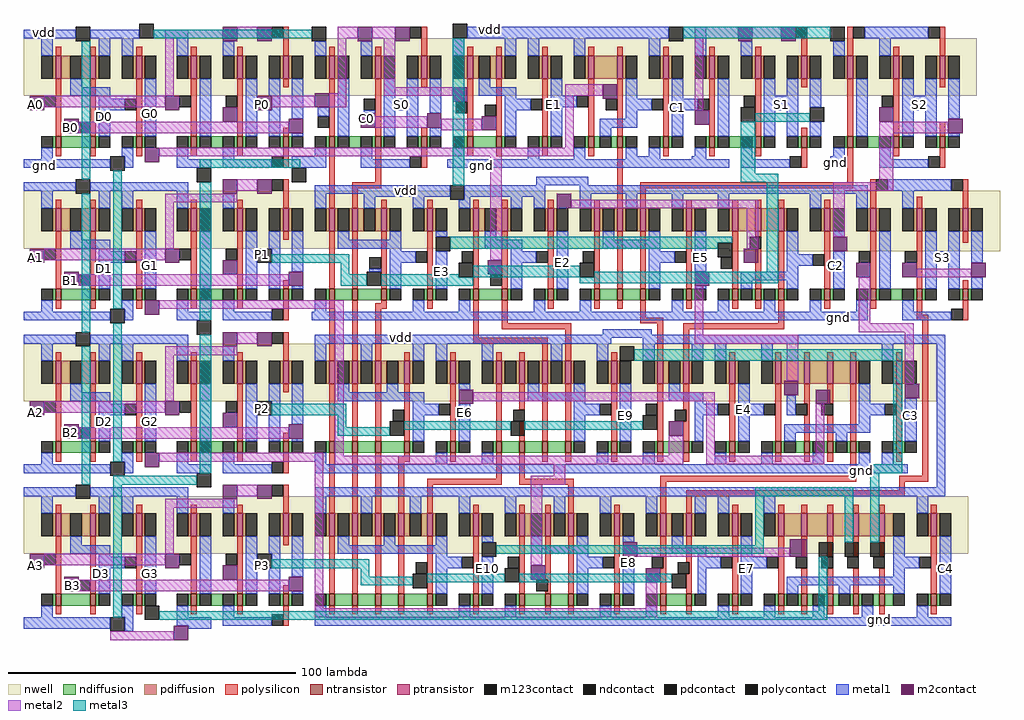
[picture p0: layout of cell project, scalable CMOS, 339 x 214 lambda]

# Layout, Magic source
magic
tech scmos
<< nwell >>
rect -20 3 311 23
rect -20 -50 319 -30
rect 225 -51 319 -50
rect -20 -103 297 -83
rect -20 -156 308 -136
<< ntransistor >>
rect -9 -15 -7 -11
rect 3 -15 5 -11
rect 19 -15 21 -11
rect 38 -15 40 -11
rect 54 -15 56 -11
rect 70 -15 72 -11
rect 86 -15 88 -11
rect 102 -15 104 -11
rect 118 -15 120 -11
rect 134 -15 136 -11
rect 144 -15 146 -11
rect 160 -15 162 -11
rect 176 -15 178 -11
rect 186 -15 188 -11
rect 202 -15 204 -11
rect 218 -15 220 -11
rect 234 -15 236 -11
rect 250 -15 252 -11
rect 266 -15 268 -11
rect 282 -15 284 -11
rect 298 -15 300 -11
rect -9 -68 -7 -64
rect 3 -68 5 -64
rect 19 -68 21 -64
rect 38 -68 40 -64
rect 54 -68 56 -64
rect 70 -68 72 -64
rect 86 -68 88 -64
rect 94 -68 96 -64
rect 104 -68 106 -64
rect 120 -68 122 -64
rect 136 -68 138 -64
rect 146 -68 148 -64
rect 162 -68 164 -64
rect 178 -68 180 -64
rect 186 -68 188 -64
rect 194 -68 196 -64
rect 210 -68 212 -64
rect 226 -68 228 -64
rect 234 -68 236 -64
rect 242 -68 244 -64
rect 258 -68 260 -64
rect 274 -68 276 -64
rect 290 -68 292 -64
rect 306 -68 308 -64
rect -9 -121 -7 -117
rect 3 -121 5 -117
rect 19 -121 21 -117
rect 38 -121 40 -117
rect 54 -121 56 -117
rect 70 -121 72 -117
rect 86 -121 88 -117
rect 94 -121 96 -117
rect 102 -121 104 -117
rect 112 -121 114 -117
rect 128 -121 130 -117
rect 144 -121 146 -117
rect 152 -121 154 -117
rect 160 -121 162 -117
rect 168 -121 170 -117
rect 184 -121 186 -117
rect 200 -121 202 -117
rect 209 -121 211 -117
rect 225 -121 227 -117
rect 241 -121 243 -117
rect 251 -121 253 -117
rect 259 -121 261 -117
rect 267 -121 269 -117
rect 283 -121 285 -117
rect -9 -174 -7 -170
rect 3 -174 5 -170
rect 19 -174 21 -170
rect 38 -174 40 -170
rect 54 -174 56 -170
rect 70 -174 72 -170
rect 86 -174 88 -170
rect 94 -174 96 -170
rect 102 -174 104 -170
rect 110 -174 112 -170
rect 120 -174 122 -170
rect 136 -174 138 -170
rect 152 -174 154 -170
rect 161 -174 163 -170
rect 169 -174 171 -170
rect 185 -174 187 -170
rect 201 -174 203 -170
rect 210 -174 212 -170
rect 226 -174 228 -170
rect 242 -174 244 -170
rect 250 -174 252 -170
rect 259 -174 261 -170
rect 268 -174 270 -170
rect 277 -174 279 -170
rect 295 -174 297 -170
<< ptransistor >>
rect -9 9 -7 17
rect 3 9 5 17
rect 19 9 21 17
rect 38 9 40 17
rect 54 9 56 17
rect 70 9 72 17
rect 86 9 88 17
rect 102 9 104 17
rect 118 9 120 17
rect 134 9 136 17
rect 144 9 146 17
rect 160 9 162 17
rect 176 9 178 17
rect 186 9 188 17
rect 202 9 204 17
rect 218 9 220 17
rect 234 9 236 17
rect 250 9 252 17
rect 266 9 268 17
rect 282 9 284 17
rect 298 9 300 17
rect -9 -44 -7 -36
rect 3 -44 5 -36
rect 19 -44 21 -36
rect 38 -44 40 -36
rect 54 -44 56 -36
rect 70 -44 72 -36
rect 86 -44 88 -36
rect 94 -44 96 -36
rect 104 -44 106 -36
rect 120 -44 122 -36
rect 136 -44 138 -36
rect 146 -44 148 -36
rect 162 -44 164 -36
rect 178 -44 180 -36
rect 186 -44 188 -36
rect 194 -44 196 -36
rect 210 -44 212 -36
rect 226 -44 228 -36
rect 234 -44 236 -36
rect 242 -44 244 -36
rect 258 -44 260 -36
rect 274 -44 276 -36
rect 290 -44 292 -36
rect 306 -44 308 -36
rect -9 -97 -7 -89
rect 3 -97 5 -89
rect 19 -97 21 -89
rect 38 -97 40 -89
rect 54 -97 56 -89
rect 70 -97 72 -89
rect 86 -97 88 -89
rect 94 -97 96 -89
rect 102 -97 104 -89
rect 112 -97 114 -89
rect 128 -97 130 -89
rect 144 -97 146 -89
rect 152 -97 154 -89
rect 160 -97 162 -89
rect 168 -97 170 -89
rect 184 -97 186 -89
rect 200 -97 202 -89
rect 209 -97 211 -89
rect 225 -97 227 -89
rect 241 -97 243 -89
rect 251 -97 253 -89
rect 259 -97 261 -89
rect 267 -97 269 -89
rect 283 -97 285 -89
rect -9 -150 -7 -142
rect 3 -150 5 -142
rect 19 -150 21 -142
rect 38 -150 40 -142
rect 54 -150 56 -142
rect 70 -150 72 -142
rect 86 -150 88 -142
rect 94 -150 96 -142
rect 102 -150 104 -142
rect 110 -150 112 -142
rect 120 -150 122 -142
rect 136 -150 138 -142
rect 152 -150 154 -142
rect 161 -150 163 -142
rect 169 -150 171 -142
rect 185 -150 187 -142
rect 201 -150 203 -142
rect 210 -150 212 -142
rect 226 -150 228 -142
rect 242 -150 244 -142
rect 250 -150 252 -142
rect 259 -150 261 -142
rect 268 -150 270 -142
rect 277 -150 279 -142
rect 295 -150 297 -142
<< ndiffusion >>
rect -10 -15 -9 -11
rect -7 -15 3 -11
rect 5 -15 6 -11
rect 18 -15 19 -11
rect 21 -15 22 -11
rect 37 -15 38 -11
rect 40 -15 41 -11
rect 45 -15 49 -11
rect 53 -15 54 -11
rect 56 -15 57 -11
rect 69 -15 70 -11
rect 72 -15 73 -11
rect 85 -15 86 -11
rect 88 -15 89 -11
rect 93 -15 97 -11
rect 101 -15 102 -11
rect 104 -15 105 -11
rect 117 -15 118 -11
rect 120 -15 121 -11
rect 133 -15 134 -11
rect 136 -15 144 -11
rect 146 -15 147 -11
rect 159 -15 160 -11
rect 162 -15 163 -11
rect 175 -15 176 -11
rect 178 -15 180 -11
rect 184 -15 186 -11
rect 188 -15 189 -11
rect 201 -15 202 -11
rect 204 -15 205 -11
rect 217 -15 218 -11
rect 220 -15 221 -11
rect 225 -15 229 -11
rect 233 -15 234 -11
rect 236 -15 237 -11
rect 249 -15 250 -11
rect 252 -15 253 -11
rect 265 -15 266 -11
rect 268 -15 269 -11
rect 273 -15 277 -11
rect 281 -15 282 -11
rect 284 -15 285 -11
rect 297 -15 298 -11
rect 300 -15 301 -11
rect -10 -68 -9 -64
rect -7 -68 3 -64
rect 5 -68 6 -64
rect 18 -68 19 -64
rect 21 -68 22 -64
rect 37 -68 38 -64
rect 40 -68 41 -64
rect 45 -68 49 -64
rect 53 -68 54 -64
rect 56 -68 57 -64
rect 69 -68 70 -64
rect 72 -68 73 -64
rect 85 -68 86 -64
rect 88 -68 94 -64
rect 96 -68 104 -64
rect 106 -68 107 -64
rect 119 -68 120 -64
rect 122 -68 123 -64
rect 135 -68 136 -64
rect 138 -68 146 -64
rect 148 -68 149 -64
rect 161 -68 162 -64
rect 164 -68 165 -64
rect 177 -68 178 -64
rect 180 -68 186 -64
rect 188 -68 194 -64
rect 196 -68 197 -64
rect 209 -68 210 -64
rect 212 -68 213 -64
rect 225 -68 226 -64
rect 228 -68 229 -64
rect 233 -68 234 -64
rect 236 -68 237 -64
rect 241 -68 242 -64
rect 244 -68 245 -64
rect 257 -68 258 -64
rect 260 -68 261 -64
rect 273 -68 274 -64
rect 276 -68 277 -64
rect 281 -68 285 -64
rect 289 -68 290 -64
rect 292 -68 293 -64
rect 305 -68 306 -64
rect 308 -68 309 -64
rect -10 -121 -9 -117
rect -7 -121 3 -117
rect 5 -121 6 -117
rect 18 -121 19 -117
rect 21 -121 22 -117
rect 37 -121 38 -117
rect 40 -121 41 -117
rect 45 -121 49 -117
rect 53 -121 54 -117
rect 56 -121 57 -117
rect 69 -121 70 -117
rect 72 -121 73 -117
rect 85 -121 86 -117
rect 88 -121 94 -117
rect 96 -121 102 -117
rect 104 -121 112 -117
rect 114 -121 115 -117
rect 127 -121 128 -117
rect 130 -121 131 -117
rect 143 -121 144 -117
rect 146 -121 152 -117
rect 154 -121 160 -117
rect 162 -121 168 -117
rect 170 -121 171 -117
rect 183 -121 184 -117
rect 186 -121 187 -117
rect 199 -121 200 -117
rect 202 -121 209 -117
rect 211 -121 212 -117
rect 224 -121 225 -117
rect 227 -121 228 -117
rect 240 -121 241 -117
rect 243 -121 244 -117
rect 248 -121 251 -117
rect 253 -121 254 -117
rect 258 -121 259 -117
rect 261 -121 262 -117
rect 266 -121 267 -117
rect 269 -121 270 -117
rect 282 -121 283 -117
rect 285 -121 286 -117
rect -10 -174 -9 -170
rect -7 -174 3 -170
rect 5 -174 6 -170
rect 18 -174 19 -170
rect 21 -174 22 -170
rect 37 -174 38 -170
rect 40 -174 41 -170
rect 45 -174 49 -170
rect 53 -174 54 -170
rect 56 -174 57 -170
rect 69 -174 70 -170
rect 72 -174 73 -170
rect 85 -174 86 -170
rect 88 -174 94 -170
rect 96 -174 102 -170
rect 104 -174 110 -170
rect 112 -174 120 -170
rect 122 -174 123 -170
rect 135 -174 136 -170
rect 138 -174 139 -170
rect 151 -174 152 -170
rect 154 -174 161 -170
rect 163 -174 169 -170
rect 171 -174 172 -170
rect 184 -174 185 -170
rect 187 -174 188 -170
rect 200 -174 201 -170
rect 203 -174 210 -170
rect 212 -174 213 -170
rect 225 -174 226 -170
rect 228 -174 229 -170
rect 241 -174 242 -170
rect 244 -174 245 -170
rect 249 -174 250 -170
rect 252 -174 254 -170
rect 258 -174 259 -170
rect 261 -174 263 -170
rect 267 -174 268 -170
rect 270 -174 271 -170
rect 275 -174 277 -170
rect 279 -174 282 -170
rect 294 -174 295 -170
rect 297 -174 298 -170
<< pdiffusion >>
rect -10 9 -9 17
rect -7 9 -4 17
rect 0 9 3 17
rect 5 9 6 17
rect 18 9 19 17
rect 21 9 22 17
rect 37 9 38 17
rect 40 9 41 17
rect 53 9 54 17
rect 56 9 57 17
rect 69 9 70 17
rect 72 9 73 17
rect 85 9 86 17
rect 88 9 89 17
rect 101 9 102 17
rect 104 9 105 17
rect 117 9 118 17
rect 120 9 121 17
rect 133 9 134 17
rect 136 9 138 17
rect 142 9 144 17
rect 146 9 147 17
rect 159 9 160 17
rect 162 9 163 17
rect 175 9 176 17
rect 178 9 186 17
rect 188 9 189 17
rect 201 9 202 17
rect 204 9 205 17
rect 217 9 218 17
rect 220 9 221 17
rect 233 9 234 17
rect 236 9 237 17
rect 249 9 250 17
rect 252 9 253 17
rect 265 9 266 17
rect 268 9 269 17
rect 281 9 282 17
rect 284 9 285 17
rect 297 9 298 17
rect 300 9 301 17
rect -10 -44 -9 -36
rect -7 -44 -4 -36
rect 0 -44 3 -36
rect 5 -44 6 -36
rect 18 -44 19 -36
rect 21 -44 22 -36
rect 37 -44 38 -36
rect 40 -44 41 -36
rect 53 -44 54 -36
rect 56 -44 57 -36
rect 69 -44 70 -36
rect 72 -44 73 -36
rect 85 -44 86 -36
rect 88 -44 89 -36
rect 93 -44 94 -36
rect 96 -44 98 -36
rect 102 -44 104 -36
rect 106 -44 107 -36
rect 119 -44 120 -36
rect 122 -44 123 -36
rect 135 -44 136 -36
rect 138 -44 140 -36
rect 144 -44 146 -36
rect 148 -44 149 -36
rect 161 -44 162 -36
rect 164 -44 165 -36
rect 177 -44 178 -36
rect 180 -44 181 -36
rect 185 -44 186 -36
rect 188 -44 189 -36
rect 193 -44 194 -36
rect 196 -44 197 -36
rect 209 -44 210 -36
rect 212 -44 213 -36
rect 225 -44 226 -36
rect 228 -44 234 -36
rect 236 -44 242 -36
rect 244 -44 245 -36
rect 257 -44 258 -36
rect 260 -44 261 -36
rect 273 -44 274 -36
rect 276 -44 277 -36
rect 289 -44 290 -36
rect 292 -44 293 -36
rect 305 -44 306 -36
rect 308 -44 309 -36
rect -10 -97 -9 -89
rect -7 -97 -4 -89
rect 0 -97 3 -89
rect 5 -97 6 -89
rect 18 -97 19 -89
rect 21 -97 22 -89
rect 37 -97 38 -89
rect 40 -97 41 -89
rect 53 -97 54 -89
rect 56 -97 57 -89
rect 69 -97 70 -89
rect 72 -97 73 -89
rect 85 -97 86 -89
rect 88 -97 89 -89
rect 93 -97 94 -89
rect 96 -97 97 -89
rect 101 -97 102 -89
rect 104 -97 106 -89
rect 110 -97 112 -89
rect 114 -97 115 -89
rect 127 -97 128 -89
rect 130 -97 131 -89
rect 143 -97 144 -89
rect 146 -97 147 -89
rect 151 -97 152 -89
rect 154 -97 155 -89
rect 159 -97 160 -89
rect 162 -97 163 -89
rect 167 -97 168 -89
rect 170 -97 171 -89
rect 183 -97 184 -89
rect 186 -97 187 -89
rect 199 -97 200 -89
rect 202 -97 204 -89
rect 208 -97 209 -89
rect 211 -97 212 -89
rect 224 -97 225 -89
rect 227 -97 228 -89
rect 240 -97 241 -89
rect 243 -97 251 -89
rect 253 -97 259 -89
rect 261 -97 267 -89
rect 269 -97 270 -89
rect 282 -97 283 -89
rect 285 -97 286 -89
rect -10 -150 -9 -142
rect -7 -150 -4 -142
rect 0 -150 3 -142
rect 5 -150 6 -142
rect 18 -150 19 -142
rect 21 -150 22 -142
rect 37 -150 38 -142
rect 40 -150 41 -142
rect 53 -150 54 -142
rect 56 -150 57 -142
rect 69 -150 70 -142
rect 72 -150 73 -142
rect 85 -150 86 -142
rect 88 -150 89 -142
rect 93 -150 94 -142
rect 96 -150 97 -142
rect 101 -150 102 -142
rect 104 -150 105 -142
rect 109 -150 110 -142
rect 112 -150 114 -142
rect 118 -150 120 -142
rect 122 -150 123 -142
rect 135 -150 136 -142
rect 138 -150 139 -142
rect 151 -150 152 -142
rect 154 -150 156 -142
rect 160 -150 161 -142
rect 163 -150 164 -142
rect 168 -150 169 -142
rect 171 -150 172 -142
rect 184 -150 185 -142
rect 187 -150 188 -142
rect 200 -150 201 -142
rect 203 -150 205 -142
rect 209 -150 210 -142
rect 212 -150 213 -142
rect 225 -150 226 -142
rect 228 -150 229 -142
rect 241 -150 242 -142
rect 244 -150 250 -142
rect 252 -150 259 -142
rect 261 -150 268 -142
rect 270 -150 277 -142
rect 279 -150 282 -142
rect 294 -150 295 -142
rect 297 -150 298 -142
<< ndcontact >>
rect -14 -15 -10 -11
rect 6 -15 10 -11
rect 14 -15 18 -11
rect 22 -15 26 -11
rect 33 -15 37 -11
rect 41 -15 45 -11
rect 49 -15 53 -11
rect 57 -15 61 -11
rect 65 -15 69 -11
rect 73 -15 77 -11
rect 81 -15 85 -11
rect 89 -15 93 -11
rect 97 -15 101 -11
rect 105 -15 109 -11
rect 113 -15 117 -11
rect 121 -15 125 -11
rect 129 -15 133 -11
rect 147 -15 151 -11
rect 155 -15 159 -11
rect 163 -15 167 -11
rect 171 -15 175 -11
rect 180 -15 184 -11
rect 189 -15 193 -11
rect 197 -15 201 -11
rect 205 -15 209 -11
rect 213 -15 217 -11
rect 221 -15 225 -11
rect 229 -15 233 -11
rect 237 -15 241 -11
rect 245 -15 249 -11
rect 253 -15 257 -11
rect 261 -15 265 -11
rect 269 -15 273 -11
rect 277 -15 281 -11
rect 285 -15 289 -11
rect 293 -15 297 -11
rect 301 -15 305 -11
rect -14 -68 -10 -64
rect 6 -68 10 -64
rect 14 -68 18 -64
rect 22 -68 26 -64
rect 33 -68 37 -64
rect 41 -68 45 -64
rect 49 -68 53 -64
rect 57 -68 61 -64
rect 65 -68 69 -64
rect 73 -68 77 -64
rect 81 -68 85 -64
rect 107 -68 111 -64
rect 115 -68 119 -64
rect 123 -68 127 -64
rect 131 -68 135 -64
rect 149 -68 153 -64
rect 157 -68 161 -64
rect 165 -68 169 -64
rect 173 -68 177 -64
rect 197 -68 201 -64
rect 205 -68 209 -64
rect 213 -68 217 -64
rect 221 -68 225 -64
rect 229 -68 233 -64
rect 237 -68 241 -64
rect 245 -68 249 -64
rect 253 -68 257 -64
rect 261 -68 265 -64
rect 269 -68 273 -64
rect 277 -68 281 -64
rect 285 -68 289 -64
rect 293 -68 297 -64
rect 301 -68 305 -64
rect 309 -68 313 -64
rect -14 -121 -10 -117
rect 6 -121 10 -117
rect 14 -121 18 -117
rect 22 -121 26 -117
rect 33 -121 37 -117
rect 41 -121 45 -117
rect 49 -121 53 -117
rect 57 -121 61 -117
rect 65 -121 69 -117
rect 73 -121 77 -117
rect 81 -121 85 -117
rect 115 -121 119 -117
rect 123 -121 127 -117
rect 131 -121 135 -117
rect 139 -121 143 -117
rect 171 -121 175 -117
rect 179 -121 183 -117
rect 187 -121 191 -117
rect 195 -121 199 -117
rect 212 -121 216 -117
rect 220 -121 224 -117
rect 228 -121 232 -117
rect 236 -121 240 -117
rect 244 -121 248 -117
rect 254 -121 258 -117
rect 262 -121 266 -117
rect 270 -121 274 -117
rect 278 -121 282 -117
rect 286 -121 290 -117
rect -14 -174 -10 -170
rect 6 -174 10 -170
rect 14 -174 18 -170
rect 22 -174 26 -170
rect 33 -174 37 -170
rect 41 -174 45 -170
rect 49 -174 53 -170
rect 57 -174 61 -170
rect 65 -174 69 -170
rect 73 -174 77 -170
rect 81 -174 85 -170
rect 123 -174 127 -170
rect 131 -174 135 -170
rect 139 -174 143 -170
rect 147 -174 151 -170
rect 172 -174 176 -170
rect 180 -174 184 -170
rect 188 -174 192 -170
rect 196 -174 200 -170
rect 213 -174 217 -170
rect 221 -174 225 -170
rect 229 -174 233 -170
rect 237 -174 241 -170
rect 245 -174 249 -170
rect 254 -174 258 -170
rect 263 -174 267 -170
rect 271 -174 275 -170
rect 282 -174 286 -170
rect 290 -174 294 -170
rect 298 -174 302 -170
<< pdcontact >>
rect -14 9 -10 17
rect -4 9 0 17
rect 6 9 10 17
rect 14 9 18 17
rect 22 9 26 17
rect 33 9 37 17
rect 41 9 45 17
rect 49 9 53 17
rect 57 9 61 17
rect 65 9 69 17
rect 73 9 77 17
rect 81 9 85 17
rect 89 9 93 17
rect 97 9 101 17
rect 105 9 109 17
rect 113 9 117 17
rect 121 9 125 17
rect 129 9 133 17
rect 138 9 142 17
rect 147 9 151 17
rect 155 9 159 17
rect 163 9 167 17
rect 171 9 175 17
rect 189 9 193 17
rect 197 9 201 17
rect 205 9 209 17
rect 213 9 217 17
rect 221 9 225 17
rect 229 9 233 17
rect 237 9 241 17
rect 245 9 249 17
rect 253 9 257 17
rect 261 9 265 17
rect 269 9 273 17
rect 277 9 281 17
rect 285 9 289 17
rect 293 9 297 17
rect 301 9 305 17
rect -14 -44 -10 -36
rect -4 -44 0 -36
rect 6 -44 10 -36
rect 14 -44 18 -36
rect 22 -44 26 -36
rect 33 -44 37 -36
rect 41 -44 45 -36
rect 49 -44 53 -36
rect 57 -44 61 -36
rect 65 -44 69 -36
rect 73 -44 77 -36
rect 81 -44 85 -36
rect 89 -44 93 -36
rect 98 -44 102 -36
rect 107 -44 111 -36
rect 115 -44 119 -36
rect 123 -44 127 -36
rect 131 -44 135 -36
rect 140 -44 144 -36
rect 149 -44 153 -36
rect 157 -44 161 -36
rect 165 -44 169 -36
rect 173 -44 177 -36
rect 181 -44 185 -36
rect 189 -44 193 -36
rect 197 -44 201 -36
rect 205 -44 209 -36
rect 213 -44 217 -36
rect 221 -44 225 -36
rect 245 -44 249 -36
rect 253 -44 257 -36
rect 261 -44 265 -36
rect 269 -44 273 -36
rect 277 -44 281 -36
rect 285 -44 289 -36
rect 293 -44 297 -36
rect 301 -44 305 -36
rect 309 -44 313 -36
rect -14 -97 -10 -89
rect -4 -97 0 -89
rect 6 -97 10 -89
rect 14 -97 18 -89
rect 22 -97 26 -89
rect 33 -97 37 -89
rect 41 -97 45 -89
rect 49 -97 53 -89
rect 57 -97 61 -89
rect 65 -97 69 -89
rect 73 -97 77 -89
rect 81 -97 85 -89
rect 89 -97 93 -89
rect 97 -97 101 -89
rect 106 -97 110 -89
rect 115 -97 119 -89
rect 123 -97 127 -89
rect 131 -97 135 -89
rect 139 -97 143 -89
rect 147 -97 151 -89
rect 155 -97 159 -89
rect 163 -97 167 -89
rect 171 -97 175 -89
rect 179 -97 183 -89
rect 187 -97 191 -89
rect 195 -97 199 -89
rect 204 -97 208 -89
rect 212 -97 216 -89
rect 220 -97 224 -89
rect 228 -97 232 -89
rect 236 -97 240 -89
rect 270 -97 274 -89
rect 278 -97 282 -89
rect 286 -97 290 -89
rect -14 -150 -10 -142
rect -4 -150 0 -142
rect 6 -150 10 -142
rect 14 -150 18 -142
rect 22 -150 26 -142
rect 33 -150 37 -142
rect 41 -150 45 -142
rect 49 -150 53 -142
rect 57 -150 61 -142
rect 65 -150 69 -142
rect 73 -150 77 -142
rect 81 -150 85 -142
rect 89 -150 93 -142
rect 97 -150 101 -142
rect 105 -150 109 -142
rect 114 -150 118 -142
rect 123 -150 127 -142
rect 131 -150 135 -142
rect 139 -150 143 -142
rect 147 -150 151 -142
rect 156 -150 160 -142
rect 164 -150 168 -142
rect 172 -150 176 -142
rect 180 -150 184 -142
rect 188 -150 192 -142
rect 196 -150 200 -142
rect 205 -150 209 -142
rect 213 -150 217 -142
rect 221 -150 225 -142
rect 229 -150 233 -142
rect 237 -150 241 -142
rect 282 -150 286 -142
rect 290 -150 294 -142
rect 298 -150 302 -142
<< polysilicon >>
rect -9 17 -7 20
rect 3 17 5 20
rect 19 17 21 20
rect 38 17 40 20
rect 54 17 56 20
rect 70 17 72 27
rect 86 17 88 20
rect 102 17 104 20
rect 118 17 120 27
rect 134 17 136 20
rect 144 17 146 20
rect 160 17 162 20
rect 176 17 178 20
rect 186 17 188 20
rect 202 17 204 20
rect 218 17 220 20
rect 234 17 236 20
rect 250 17 252 23
rect 266 17 268 27
rect 282 17 284 20
rect 298 17 300 27
rect -9 -11 -7 9
rect 3 -11 5 9
rect 19 -11 21 9
rect 38 -11 40 9
rect 54 -11 56 9
rect 70 6 72 9
rect 70 -11 72 -8
rect 86 -11 88 9
rect 102 -11 104 9
rect 118 6 120 9
rect 118 -11 120 -8
rect 134 -11 136 9
rect 144 -11 146 9
rect 160 -11 162 9
rect 176 -11 178 9
rect 186 -11 188 9
rect 202 -11 204 9
rect 218 -11 220 9
rect 234 -11 236 9
rect 250 6 252 9
rect 250 -11 252 -8
rect 266 -11 268 9
rect 282 -11 284 9
rect 298 6 300 9
rect 298 -11 300 -6
rect -9 -18 -7 -15
rect 3 -18 5 -15
rect 19 -18 21 -15
rect 38 -18 40 -15
rect 54 -18 56 -15
rect 70 -22 72 -15
rect -9 -36 -7 -33
rect 3 -36 5 -33
rect 19 -36 21 -33
rect 38 -36 40 -33
rect 54 -36 56 -33
rect 70 -36 72 -26
rect 86 -36 88 -15
rect 102 -27 104 -15
rect 118 -22 120 -15
rect 134 -18 136 -15
rect 144 -18 146 -15
rect 160 -18 162 -15
rect 176 -18 178 -15
rect 94 -29 104 -27
rect 94 -36 96 -29
rect 104 -36 106 -33
rect 120 -36 122 -33
rect 136 -36 138 -33
rect 146 -36 148 -33
rect 162 -36 164 -33
rect 178 -36 180 -33
rect 186 -36 188 -15
rect 202 -18 204 -15
rect 218 -18 220 -15
rect 234 -18 236 -15
rect 250 -22 252 -15
rect 266 -27 268 -15
rect 282 -18 284 -15
rect 298 -22 300 -15
rect 194 -29 268 -27
rect 194 -36 196 -29
rect 210 -36 212 -33
rect 226 -36 228 -33
rect 234 -36 236 -33
rect 242 -36 244 -33
rect 258 -36 260 -33
rect 274 -36 276 -26
rect 290 -36 292 -32
rect 306 -36 308 -26
rect -9 -64 -7 -44
rect 3 -64 5 -44
rect 19 -64 21 -44
rect 38 -64 40 -44
rect 54 -64 56 -44
rect 70 -47 72 -44
rect 70 -64 72 -61
rect 86 -64 88 -44
rect 94 -64 96 -44
rect 104 -64 106 -44
rect 120 -64 122 -44
rect 136 -64 138 -44
rect 146 -64 148 -44
rect 162 -64 164 -44
rect 178 -64 180 -44
rect 186 -64 188 -44
rect 194 -64 196 -44
rect 210 -64 212 -44
rect 226 -64 228 -44
rect 234 -46 236 -44
rect 234 -64 236 -50
rect 242 -64 244 -44
rect 258 -64 260 -44
rect 274 -64 276 -44
rect 290 -64 292 -44
rect 306 -48 308 -44
rect 306 -64 308 -61
rect -9 -71 -7 -68
rect 3 -71 5 -68
rect 19 -71 21 -68
rect 38 -71 40 -68
rect 54 -71 56 -68
rect 70 -75 72 -68
rect -9 -89 -7 -86
rect 3 -89 5 -86
rect 19 -89 21 -86
rect 38 -89 40 -86
rect 54 -89 56 -86
rect 70 -89 72 -79
rect 86 -89 88 -68
rect 94 -89 96 -68
rect 104 -69 106 -68
rect 102 -71 106 -69
rect 120 -71 122 -68
rect 102 -89 104 -71
rect 136 -81 138 -68
rect 146 -76 148 -68
rect 162 -71 164 -68
rect 178 -71 180 -68
rect 186 -71 188 -68
rect 194 -74 196 -68
rect 210 -71 212 -68
rect 226 -71 228 -68
rect 234 -71 236 -68
rect 194 -76 202 -74
rect 242 -76 244 -68
rect 258 -71 260 -68
rect 274 -71 276 -68
rect 290 -73 292 -68
rect 290 -75 294 -73
rect 306 -75 308 -68
rect 146 -78 170 -76
rect 136 -83 162 -81
rect 112 -89 114 -86
rect 128 -89 130 -86
rect 144 -89 146 -86
rect 152 -89 154 -86
rect 160 -89 162 -83
rect 168 -89 170 -78
rect 184 -89 186 -86
rect 200 -89 202 -76
rect 209 -78 244 -76
rect 209 -89 211 -78
rect 225 -89 227 -86
rect 241 -89 243 -86
rect 251 -89 253 -86
rect 259 -89 261 -86
rect 267 -89 269 -86
rect 283 -89 285 -86
rect -9 -117 -7 -97
rect 3 -117 5 -97
rect 19 -117 21 -97
rect 38 -117 40 -97
rect 54 -117 56 -97
rect 70 -100 72 -97
rect 70 -117 72 -114
rect 86 -117 88 -97
rect 94 -117 96 -97
rect 102 -117 104 -97
rect 112 -117 114 -97
rect 128 -117 130 -97
rect 144 -117 146 -97
rect 152 -106 154 -97
rect 152 -117 154 -110
rect 160 -117 162 -97
rect 168 -117 170 -97
rect 184 -117 186 -97
rect 200 -117 202 -97
rect 209 -106 211 -97
rect 210 -110 211 -106
rect 209 -117 211 -110
rect 225 -117 227 -97
rect 241 -117 243 -97
rect 251 -104 253 -97
rect 259 -104 261 -97
rect 252 -108 253 -104
rect 251 -117 253 -108
rect 259 -117 261 -108
rect 267 -117 269 -97
rect 283 -117 285 -97
rect -9 -124 -7 -121
rect 3 -124 5 -121
rect 19 -124 21 -121
rect 38 -124 40 -121
rect 54 -124 56 -121
rect 70 -128 72 -121
rect -9 -142 -7 -139
rect 3 -142 5 -139
rect 19 -142 21 -139
rect 38 -142 40 -139
rect 54 -142 56 -139
rect 70 -142 72 -132
rect 86 -142 88 -121
rect 94 -142 96 -121
rect 102 -142 104 -121
rect 112 -122 114 -121
rect 110 -124 114 -122
rect 128 -124 130 -121
rect 110 -142 112 -124
rect 144 -130 146 -121
rect 120 -132 146 -130
rect 152 -130 154 -121
rect 160 -124 162 -121
rect 168 -124 170 -121
rect 184 -124 186 -121
rect 200 -124 202 -121
rect 209 -124 211 -121
rect 225 -124 227 -121
rect 241 -124 243 -121
rect 251 -124 253 -121
rect 259 -124 261 -121
rect 267 -129 269 -121
rect 283 -124 285 -121
rect 292 -129 294 -75
rect 152 -132 171 -130
rect 120 -142 122 -132
rect 136 -142 138 -139
rect 152 -142 154 -139
rect 161 -142 163 -139
rect 169 -142 171 -132
rect 201 -131 269 -129
rect 284 -131 294 -129
rect 185 -142 187 -139
rect 201 -142 203 -131
rect 284 -134 286 -131
rect 210 -136 286 -134
rect 210 -142 212 -136
rect 226 -142 228 -139
rect 242 -142 244 -139
rect 250 -142 252 -139
rect 259 -142 261 -139
rect 268 -142 270 -139
rect 277 -142 279 -139
rect 295 -142 297 -139
rect -9 -170 -7 -150
rect 3 -170 5 -150
rect 19 -170 21 -150
rect 38 -170 40 -150
rect 54 -170 56 -150
rect 70 -153 72 -150
rect 70 -170 72 -167
rect 86 -170 88 -150
rect 94 -170 96 -150
rect 102 -170 104 -150
rect 110 -170 112 -150
rect 120 -170 122 -150
rect 136 -170 138 -150
rect 152 -170 154 -150
rect 161 -165 163 -150
rect 162 -169 163 -165
rect 161 -170 163 -169
rect 169 -170 171 -150
rect 185 -170 187 -150
rect 201 -157 203 -150
rect 202 -161 203 -157
rect 210 -159 212 -150
rect 201 -170 203 -161
rect 211 -163 212 -159
rect 210 -170 212 -163
rect 226 -170 228 -150
rect 242 -170 244 -150
rect 250 -157 252 -150
rect 259 -157 261 -150
rect 268 -157 270 -150
rect 277 -157 279 -150
rect 250 -170 252 -161
rect 259 -170 261 -161
rect 268 -170 270 -161
rect 277 -170 279 -161
rect 295 -170 297 -150
rect -9 -177 -7 -174
rect 3 -177 5 -174
rect 19 -177 21 -174
rect 38 -177 40 -174
rect 54 -177 56 -174
rect 70 -181 72 -174
rect 86 -177 88 -174
rect 94 -177 96 -174
rect 102 -177 104 -174
rect 110 -177 112 -174
rect 120 -177 122 -174
rect 136 -177 138 -174
rect 152 -177 154 -174
rect 161 -177 163 -174
rect 169 -177 171 -174
rect 185 -177 187 -174
rect 201 -177 203 -174
rect 210 -177 212 -174
rect 226 -177 228 -174
rect 242 -177 244 -174
rect 250 -177 252 -174
rect 259 -177 261 -174
rect 268 -177 270 -174
rect 277 -177 279 -174
rect 295 -177 297 -174
<< polycontact >>
rect 66 23 70 27
rect 114 23 118 27
rect 248 23 252 27
rect 268 23 272 27
rect 294 23 298 27
rect -13 -1 -9 3
rect -1 -10 3 -6
rect 15 -2 19 2
rect 34 -1 38 3
rect 50 -1 54 3
rect 82 -8 86 -4
rect 98 -2 102 2
rect 130 -3 134 1
rect 140 -4 144 0
rect 156 -2 160 2
rect 172 -1 176 3
rect 182 -2 186 2
rect 198 -2 202 2
rect 214 -2 218 2
rect 230 -1 234 3
rect 278 -1 282 3
rect 66 -22 70 -18
rect 66 -30 70 -26
rect 114 -22 118 -18
rect 246 -22 250 -18
rect 294 -22 298 -18
rect 276 -30 280 -26
rect 302 -30 306 -26
rect -13 -54 -9 -50
rect -1 -63 3 -59
rect 15 -55 19 -51
rect 34 -54 38 -50
rect 50 -54 54 -50
rect 100 -57 104 -53
rect 116 -55 120 -51
rect 132 -55 136 -51
rect 142 -63 146 -59
rect 158 -55 162 -51
rect 174 -55 178 -51
rect 206 -55 210 -51
rect 222 -57 226 -53
rect 232 -50 236 -46
rect 254 -56 258 -52
rect 270 -55 274 -51
rect 286 -55 290 -51
rect 66 -75 70 -71
rect 66 -83 70 -79
rect 302 -75 306 -71
rect -13 -107 -9 -103
rect -1 -116 3 -112
rect 15 -108 19 -104
rect 34 -107 38 -103
rect 50 -107 54 -103
rect 108 -110 112 -106
rect 124 -108 128 -104
rect 150 -110 154 -106
rect 180 -108 184 -104
rect 196 -108 200 -104
rect 206 -110 210 -106
rect 221 -108 225 -104
rect 237 -108 241 -104
rect 248 -108 252 -104
rect 257 -108 261 -104
rect 279 -108 283 -104
rect 66 -128 70 -124
rect 66 -136 70 -132
rect -13 -160 -9 -156
rect -1 -169 3 -165
rect 15 -161 19 -157
rect 34 -160 38 -156
rect 50 -160 54 -156
rect 116 -163 120 -159
rect 132 -161 136 -157
rect 148 -161 152 -157
rect 158 -169 162 -165
rect 181 -161 185 -157
rect 198 -161 202 -157
rect 207 -163 211 -159
rect 222 -161 226 -157
rect 238 -161 242 -157
rect 248 -161 252 -157
rect 257 -161 261 -157
rect 266 -161 270 -157
rect 275 -161 279 -157
rect 291 -161 295 -157
rect 66 -181 70 -177
<< metal1 >>
rect -20 23 -2 26
rect -14 17 -10 23
rect 3 23 20 26
rect 25 23 37 26
rect 6 17 10 23
rect 14 17 18 23
rect 33 17 37 23
rect 134 23 204 27
rect 49 17 53 22
rect 81 17 85 22
rect 97 17 101 22
rect 129 17 133 23
rect 147 17 151 23
rect -4 6 0 9
rect -4 3 10 6
rect 6 2 10 3
rect 6 -2 15 2
rect 6 -11 10 -2
rect 22 -11 26 9
rect 41 -11 45 9
rect 57 -11 61 9
rect 65 3 69 9
rect 66 -2 69 3
rect -14 -19 -10 -15
rect 14 -18 18 -15
rect -20 -22 10 -19
rect 15 -22 18 -18
rect 65 -11 69 -2
rect 73 -5 77 9
rect 82 -4 86 -1
rect 73 -11 77 -10
rect 89 -11 93 9
rect 105 2 109 9
rect 113 2 117 9
rect 98 -3 102 -2
rect 105 -2 117 2
rect 105 -11 109 -2
rect 113 -11 117 -2
rect 155 17 159 23
rect 171 17 175 23
rect 197 17 201 23
rect 209 23 217 27
rect 213 17 217 23
rect 272 23 294 27
rect 229 17 233 22
rect 261 17 265 22
rect 277 17 281 23
rect 121 -3 125 9
rect 138 6 142 9
rect 138 3 151 6
rect 147 2 151 3
rect 163 3 167 9
rect 121 -11 125 -8
rect 147 -2 156 2
rect 163 -1 172 3
rect 147 -11 151 -2
rect 163 -11 167 -1
rect 189 2 193 9
rect 205 2 209 9
rect 189 -2 198 2
rect 205 -2 214 2
rect 189 -5 193 -2
rect 180 -8 193 -5
rect 180 -11 184 -8
rect 205 -11 209 -2
rect 221 -11 225 9
rect 237 3 241 9
rect 245 3 249 9
rect 237 -2 249 3
rect 237 -11 241 -2
rect 33 -19 37 -15
rect 49 -19 53 -15
rect 81 -18 85 -15
rect 33 -22 45 -19
rect 49 -22 66 -19
rect 73 -22 85 -18
rect 97 -19 101 -15
rect 97 -22 114 -19
rect 129 -19 133 -15
rect 155 -19 159 -15
rect 171 -19 175 -15
rect 189 -18 193 -15
rect 245 -11 249 -2
rect 253 -1 257 9
rect 253 -11 257 -6
rect 269 -11 273 9
rect 285 3 289 9
rect 293 3 297 9
rect 285 -2 297 3
rect 285 -11 289 -2
rect 293 -11 297 -2
rect 301 -5 305 9
rect 301 -11 305 -10
rect 197 -18 201 -15
rect 213 -18 217 -15
rect 189 -19 201 -18
rect 212 -19 217 -18
rect 229 -19 233 -15
rect 261 -18 265 -15
rect 127 -22 225 -19
rect 229 -22 246 -19
rect 260 -22 265 -18
rect 277 -19 281 -15
rect 277 -22 294 -19
rect -20 -30 -2 -27
rect -14 -36 -10 -30
rect 3 -30 37 -27
rect 6 -36 10 -30
rect 14 -36 18 -30
rect 33 -36 37 -30
rect 158 -28 176 -25
rect 81 -31 128 -28
rect 49 -36 53 -31
rect 81 -36 85 -31
rect 98 -32 128 -31
rect 98 -36 102 -32
rect 115 -36 119 -32
rect 133 -32 161 -28
rect 173 -31 273 -28
rect 280 -30 302 -26
rect 133 -33 135 -32
rect 131 -36 135 -33
rect 149 -36 153 -32
rect -4 -47 0 -44
rect -4 -50 10 -47
rect 6 -51 10 -50
rect 6 -55 15 -51
rect 6 -64 10 -55
rect 22 -64 26 -44
rect 41 -64 45 -44
rect 57 -64 61 -44
rect 65 -50 69 -44
rect 66 -55 69 -50
rect -14 -72 -10 -68
rect 14 -71 18 -68
rect -20 -75 10 -72
rect 15 -75 18 -71
rect 65 -64 69 -55
rect 157 -36 161 -32
rect 173 -36 177 -31
rect 189 -36 193 -31
rect 205 -36 209 -31
rect 221 -36 225 -31
rect 253 -36 257 -31
rect 269 -36 273 -31
rect 285 -36 289 -30
rect 73 -58 77 -44
rect 89 -47 93 -44
rect 107 -47 111 -44
rect 89 -50 111 -47
rect 107 -51 111 -50
rect 123 -46 127 -44
rect 140 -47 144 -44
rect 140 -50 153 -47
rect 149 -51 153 -50
rect 100 -58 104 -57
rect 107 -55 116 -51
rect 73 -64 77 -63
rect 107 -64 111 -55
rect 123 -64 127 -51
rect 149 -55 158 -51
rect 149 -64 153 -55
rect 165 -64 169 -44
rect 181 -47 185 -44
rect 197 -47 201 -44
rect 181 -50 201 -47
rect 197 -51 201 -50
rect 197 -55 206 -51
rect 197 -64 201 -55
rect 213 -58 217 -44
rect 245 -52 249 -44
rect 261 -46 265 -44
rect 245 -56 254 -52
rect 245 -58 249 -56
rect 229 -61 249 -58
rect 213 -64 217 -63
rect 229 -64 233 -61
rect 245 -64 249 -61
rect 261 -64 265 -51
rect 277 -64 281 -44
rect 293 -51 297 -44
rect 301 -51 305 -44
rect 293 -55 305 -51
rect 293 -64 297 -55
rect 301 -64 305 -55
rect 309 -55 313 -44
rect 309 -64 313 -60
rect 33 -72 37 -68
rect 49 -72 53 -68
rect 33 -75 45 -72
rect 49 -75 66 -72
rect 81 -72 85 -68
rect 115 -72 119 -68
rect 131 -72 135 -68
rect 157 -72 161 -68
rect 173 -72 177 -68
rect 205 -72 209 -68
rect 221 -72 225 -68
rect 237 -72 241 -68
rect 253 -72 257 -68
rect 269 -72 273 -68
rect 80 -75 273 -72
rect 285 -72 289 -68
rect 285 -75 302 -72
rect -20 -83 -2 -80
rect -14 -89 -10 -83
rect 3 -83 37 -80
rect 6 -89 10 -83
rect 14 -89 18 -83
rect 33 -89 37 -83
rect 181 -80 198 -78
rect 81 -81 300 -80
rect 81 -83 184 -81
rect 195 -83 300 -81
rect 49 -89 53 -84
rect 81 -89 85 -83
rect 97 -89 101 -83
rect 115 -89 119 -83
rect -4 -100 0 -97
rect -4 -103 10 -100
rect 6 -104 10 -103
rect 6 -108 15 -104
rect 6 -117 10 -108
rect 22 -117 26 -97
rect 41 -117 45 -97
rect 57 -117 61 -97
rect 65 -103 69 -97
rect 66 -108 69 -103
rect -14 -125 -10 -121
rect 14 -124 18 -121
rect -20 -128 10 -125
rect 15 -128 18 -124
rect 65 -117 69 -108
rect 123 -89 127 -83
rect 139 -89 143 -83
rect 163 -89 167 -83
rect 179 -89 183 -83
rect 195 -89 199 -83
rect 212 -89 216 -83
rect 220 -89 224 -83
rect 236 -89 240 -83
rect 278 -89 282 -83
rect 73 -111 77 -97
rect 89 -100 93 -97
rect 106 -100 110 -97
rect 131 -99 135 -97
rect 89 -103 119 -100
rect 115 -104 119 -103
rect 155 -100 159 -97
rect 171 -100 175 -97
rect 155 -103 175 -100
rect 171 -104 175 -103
rect 115 -108 124 -104
rect 73 -117 77 -116
rect 115 -117 119 -108
rect 131 -117 135 -104
rect 171 -108 180 -104
rect 171 -117 175 -108
rect 187 -117 191 -97
rect 204 -100 208 -97
rect 204 -103 216 -100
rect 213 -104 216 -103
rect 228 -104 232 -97
rect 213 -108 221 -104
rect 228 -108 237 -104
rect 245 -108 248 -101
rect 270 -104 274 -97
rect 270 -108 279 -104
rect 213 -117 216 -108
rect 228 -117 232 -108
rect 270 -111 274 -108
rect 244 -114 274 -111
rect 244 -117 248 -114
rect 262 -117 266 -114
rect 286 -117 290 -102
rect 33 -125 37 -121
rect 49 -125 53 -121
rect 33 -128 45 -125
rect 49 -128 66 -125
rect 81 -125 85 -121
rect 123 -125 127 -121
rect 139 -125 143 -121
rect 179 -125 183 -121
rect 195 -125 199 -121
rect 220 -125 224 -121
rect 236 -125 240 -121
rect 254 -125 258 -121
rect 270 -125 274 -121
rect 278 -125 282 -121
rect 81 -128 287 -125
rect -20 -136 -2 -133
rect -14 -142 -10 -136
rect 3 -136 37 -133
rect 6 -142 10 -136
rect 14 -142 18 -136
rect 33 -142 37 -136
rect 297 -133 300 -83
rect 81 -136 300 -133
rect 49 -142 53 -137
rect 81 -142 85 -136
rect 97 -142 101 -136
rect 114 -142 118 -136
rect 131 -142 135 -136
rect 147 -142 151 -136
rect 164 -142 168 -136
rect 180 -142 184 -136
rect 196 -142 200 -136
rect 213 -142 217 -136
rect -4 -153 0 -150
rect -4 -156 10 -153
rect 6 -157 10 -156
rect 6 -161 15 -157
rect 6 -170 10 -161
rect 22 -170 26 -150
rect 41 -170 45 -150
rect 57 -170 61 -150
rect 65 -156 69 -150
rect 66 -161 69 -156
rect -14 -178 -10 -174
rect 14 -178 18 -174
rect -20 -182 10 -178
rect 15 -183 18 -178
rect 65 -170 69 -161
rect 221 -142 225 -136
rect 237 -142 241 -136
rect 290 -142 294 -136
rect 73 -164 77 -150
rect 89 -153 93 -150
rect 105 -153 109 -150
rect 123 -153 127 -150
rect 89 -156 127 -153
rect 123 -157 127 -156
rect 139 -152 143 -150
rect 156 -153 160 -150
rect 172 -153 176 -150
rect 156 -156 176 -153
rect 172 -157 176 -156
rect 188 -152 192 -150
rect 205 -153 209 -150
rect 205 -156 217 -153
rect 214 -157 217 -156
rect 229 -157 233 -150
rect 123 -161 132 -157
rect 73 -170 77 -169
rect 123 -170 127 -161
rect 139 -170 143 -157
rect 172 -161 181 -157
rect 172 -170 176 -161
rect 188 -170 192 -157
rect 214 -161 222 -157
rect 229 -161 238 -157
rect 282 -157 286 -150
rect 282 -161 291 -157
rect 214 -170 217 -161
rect 229 -170 233 -161
rect 282 -164 286 -161
rect 245 -167 286 -164
rect 245 -170 249 -167
rect 263 -170 267 -167
rect 282 -170 286 -167
rect 298 -170 302 -150
rect 33 -178 37 -174
rect 49 -178 53 -174
rect 33 -181 45 -178
rect 49 -181 66 -178
rect 81 -178 85 -174
rect 131 -178 135 -174
rect 147 -178 151 -174
rect 180 -178 184 -174
rect 196 -178 200 -174
rect 221 -178 225 -174
rect 237 -178 241 -174
rect 254 -178 258 -174
rect 271 -178 275 -174
rect 290 -178 294 -174
rect 81 -181 302 -178
rect 37 -182 45 -181
<< m2contact >>
rect 49 22 54 27
rect 61 22 66 27
rect 96 22 101 27
rect 109 22 114 27
rect -18 -2 -13 3
rect -6 -10 -1 -5
rect 29 -2 34 3
rect 49 -6 54 -1
rect 61 -2 66 3
rect 81 -1 86 4
rect 72 -10 77 -5
rect 97 -8 102 -3
rect 228 22 233 27
rect 243 22 248 27
rect 129 1 134 6
rect 120 -8 125 -3
rect 139 -9 144 -4
rect 181 2 186 7
rect 213 -7 218 -2
rect 22 -20 27 -15
rect 277 -6 282 -1
rect 301 -10 306 -5
rect 49 -31 54 -26
rect 61 -31 66 -26
rect -18 -55 -13 -50
rect -6 -63 -1 -58
rect 29 -55 34 -50
rect 49 -59 54 -54
rect 165 -36 170 -31
rect 72 -63 77 -58
rect 141 -59 146 -54
rect 230 -55 235 -50
rect 261 -51 266 -46
rect 213 -63 218 -58
rect 269 -60 274 -55
rect 285 -60 290 -55
rect 309 -60 314 -55
rect 22 -73 27 -68
rect 49 -84 54 -79
rect 61 -84 66 -79
rect -18 -108 -13 -103
rect -6 -116 -1 -111
rect 29 -108 34 -103
rect 49 -112 54 -107
rect 131 -104 136 -99
rect 72 -116 77 -111
rect 244 -101 249 -96
rect 255 -104 260 -99
rect 286 -102 291 -97
rect 204 -115 209 -110
rect 22 -126 27 -121
rect 49 -137 54 -132
rect 61 -137 66 -132
rect -18 -161 -13 -156
rect -6 -169 -1 -164
rect 29 -161 34 -156
rect 49 -165 54 -160
rect 188 -157 193 -152
rect 246 -157 252 -151
rect 72 -169 77 -164
rect 156 -165 161 -160
rect 196 -166 201 -161
rect 32 -186 37 -181
<< metal2 >>
rect 29 23 49 26
rect 29 3 32 23
rect 54 23 61 27
rect 89 23 96 27
rect 89 4 92 23
rect 101 23 109 27
rect -13 -1 29 3
rect 66 -1 81 3
rect 86 -1 92 4
rect 105 6 109 23
rect 213 23 228 27
rect 105 3 129 6
rect 168 3 181 7
rect -1 -10 72 -6
rect 102 -8 120 -4
rect 125 -9 139 -5
rect 168 -15 171 3
rect 213 -2 216 23
rect 233 23 243 27
rect 27 -18 171 -15
rect 277 -10 301 -6
rect 54 -30 61 -26
rect 29 -34 54 -31
rect 29 -50 32 -34
rect -13 -54 29 -50
rect 142 -54 146 -18
rect 277 -27 282 -10
rect 261 -30 282 -27
rect 170 -36 235 -33
rect 231 -50 235 -36
rect -1 -63 72 -59
rect 261 -46 265 -30
rect 290 -60 309 -57
rect 27 -71 91 -68
rect 54 -83 61 -79
rect 29 -87 54 -84
rect 29 -103 32 -87
rect -13 -107 29 -103
rect -1 -116 72 -112
rect 27 -124 84 -121
rect 54 -136 61 -132
rect 29 -140 54 -137
rect 29 -156 32 -140
rect -13 -160 29 -156
rect -1 -169 72 -165
rect 81 -175 84 -124
rect 88 -122 91 -71
rect 213 -80 216 -63
rect 270 -76 274 -60
rect 270 -79 289 -76
rect 213 -83 249 -80
rect 245 -96 249 -83
rect 136 -103 220 -100
rect 286 -97 289 -79
rect 204 -122 209 -115
rect 88 -125 209 -122
rect 217 -122 220 -103
rect 255 -122 258 -104
rect 217 -125 258 -122
rect 164 -129 168 -125
rect 156 -132 168 -129
rect 156 -160 160 -132
rect 193 -157 246 -154
rect 196 -175 200 -166
rect 81 -178 200 -175
rect 10 -186 32 -183
<< m123contact >>
rect -2 22 3 27
rect 20 23 25 28
rect 80 22 85 27
rect 129 23 134 28
rect 204 22 209 27
rect 260 22 265 27
rect 229 -6 234 -1
rect 253 -6 258 -1
rect 10 -23 15 -18
rect -2 -31 3 -26
rect 40 -27 45 -22
rect 73 -27 78 -22
rect 128 -33 133 -28
rect 61 -55 66 -50
rect 123 -51 128 -46
rect 221 -53 226 -48
rect 99 -63 104 -58
rect 131 -60 136 -55
rect 173 -60 178 -55
rect 10 -76 15 -71
rect -2 -84 3 -79
rect 40 -80 45 -75
rect 61 -108 66 -103
rect 10 -129 15 -124
rect -2 -137 3 -132
rect 40 -133 45 -128
rect 61 -161 66 -156
rect 10 -183 15 -178
rect 22 -179 27 -174
rect 187 -89 192 -84
rect 107 -115 112 -110
rect 149 -115 154 -110
rect 195 -113 200 -108
rect 139 -157 144 -152
rect 256 -157 261 -152
rect 265 -157 270 -152
rect 274 -157 279 -152
rect 115 -168 120 -163
rect 147 -166 152 -161
rect 205 -168 210 -163
<< metal3 >>
rect 25 23 80 26
rect 0 -26 3 22
rect 41 -22 76 -19
rect 0 -79 3 -31
rect 11 -71 14 -23
rect 41 -75 45 -27
rect 129 -28 133 23
rect 209 23 260 27
rect 234 -6 253 -3
rect 229 -24 234 -6
rect 229 -27 242 -24
rect 128 -48 226 -46
rect 128 -50 221 -48
rect 66 -55 93 -52
rect 90 -59 93 -55
rect 90 -63 99 -59
rect 104 -60 131 -59
rect 136 -60 173 -56
rect 238 -58 242 -27
rect 178 -60 242 -58
rect 104 -63 136 -60
rect 173 -62 242 -60
rect 0 -132 3 -84
rect 11 -124 14 -76
rect 41 -128 45 -80
rect 192 -89 285 -85
rect 66 -108 92 -104
rect 89 -112 92 -108
rect 89 -115 107 -112
rect 112 -113 149 -110
rect 154 -113 195 -110
rect 282 -125 285 -89
rect 11 -132 40 -129
rect 11 -178 14 -132
rect 274 -128 285 -125
rect 234 -136 268 -133
rect 234 -153 237 -136
rect 265 -152 268 -136
rect 274 -152 277 -128
rect 144 -156 237 -153
rect 66 -161 100 -158
rect 97 -164 100 -161
rect 97 -167 115 -164
rect 120 -166 147 -163
rect 152 -166 205 -163
rect 256 -176 259 -157
rect 27 -179 259 -176
<< labels >>
rlabel m2contact -16 0 -16 0 3 A0
rlabel m2contact -4 -8 -4 -8 1 B0
rlabel metal1 8 -4 8 -4 1 D0
rlabel metal1 24 -3 24 -3 1 G0
rlabel m2contact 63 0 63 0 1 P0
rlabel m2contact -16 -53 -16 -53 3 A1
rlabel m2contact -4 -61 -4 -61 1 B1
rlabel metal1 8 -57 8 -57 1 D1
rlabel metal1 24 -56 24 -56 1 G1
rlabel metal1 -13 25 -13 25 5 vdd
rlabel metal1 -13 -21 -13 -21 1 gnd
rlabel m123contact 63 -160 63 -160 1 P3
rlabel metal1 24 -110 24 -110 1 G2
rlabel metal1 24 -163 24 -163 1 G3
rlabel metal1 8 -110 8 -110 1 D2
rlabel metal1 7 -163 7 -163 1 D3
rlabel m2contact -3 -167 -3 -167 1 B3
rlabel m2contact -16 -160 -16 -160 3 A3
rlabel m2contact -4 -114 -4 -114 1 B2
rlabel m2contact -16 -107 -16 -107 3 A2
rlabel m2contact 99 -5 99 -5 1 C0
rlabel metal1 111 0 111 0 1 S0
rlabel metal1 207 -1 207 -1 1 C1
rlabel metal1 164 0 164 0 1 E1
rlabel m123contact 63 -52 63 -52 1 P1
rlabel metal1 125 -58 125 -58 1 E3
rlabel metal1 167 -55 167 -55 1 E2
rlabel metal1 133 -107 133 -107 1 E6
rlabel metal1 63 -106 63 -105 1 P2
rlabel metal1 141 -161 141 -161 1 E10
rlabel metal1 190 -159 190 -159 1 E8
rlabel metal1 231 -161 231 -161 1 E7
rlabel metal1 215 -53 215 -53 1 E5
rlabel metal1 291 0 291 0 1 S2
rlabel metal1 299 -53 299 -53 1 S3
rlabel metal1 300 -161 300 -161 1 C4
rlabel metal1 243 0 243 0 1 S1
rlabel metal1 262 -56 262 -56 1 C2
rlabel metal1 142 26 142 26 5 vdd
rlabel metal1 139 -21 139 -21 1 gnd
rlabel metal1 113 -30 113 -30 1 vdd
rlabel metal1 262 -20 262 -20 1 gnd
rlabel metal1 263 -74 263 -74 1 gnd
rlabel metal1 277 -179 277 -179 1 gnd
rlabel metal1 111 -81 111 -81 1 vdd
rlabel metal1 189 -108 189 -108 1 E9
rlabel metal1 230 -106 230 -106 1 E4
rlabel metal1 288 -108 288 -108 1 C3
rlabel metal1 271 -127 271 -127 1 gnd
<< end >>
